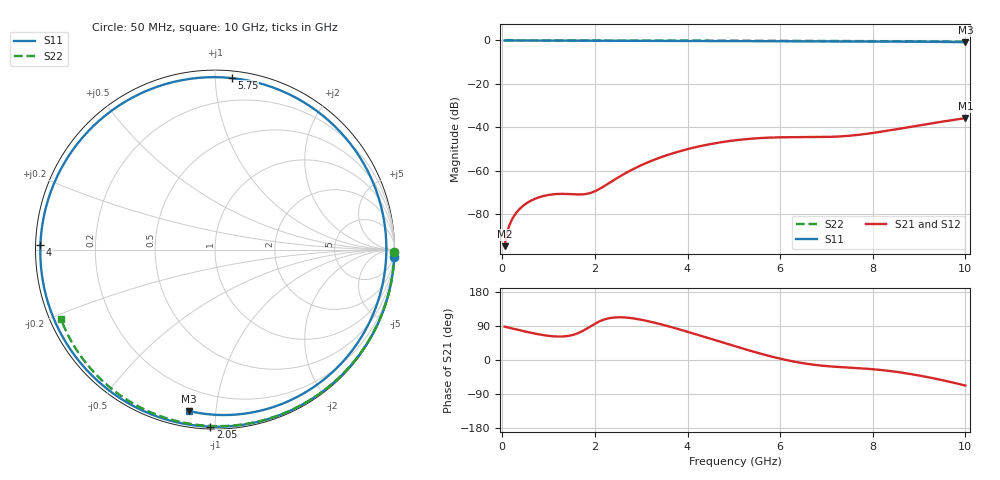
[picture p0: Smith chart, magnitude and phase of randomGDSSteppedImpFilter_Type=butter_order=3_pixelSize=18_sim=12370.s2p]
! freq	dB(S11)	phase(S11)	dB(S12)	phase(S12)
!  dB(S21)	phase(S21)	dB(S22)	phase(S22)
!S-par simulation data
#  GHz  S  DB  R 50
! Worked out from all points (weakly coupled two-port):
!   200 points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, 50 MHz to 10 GHz, reference 50 ohm
!   highest |S21| = -35.73 dB at 10 GHz (marker M1); lowest = -94.6 dB at 50 MHz (marker M2)
!   lowest |S11| = -0.8 dB at 10 GHz (marker M3), VSWR 21.46, Z = 4.02 - j42.5 ohm
!   |S11| at or under -10 dB: nowhere
!   |S22| runs from -0.5 to 0.0 dB; largest |S21 - S12| = 0
!   S11 on the Smith chart (normalised r, x): 50 MHz: 1, -50; 2.05 GHz: 0.01, -0.97; 4 GHz: 0.01, +0.01; 5.75 GHz: 0.04, +1.10; 10 GHz: 0.08, -0.85
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0.05  -0.00 -2.3  -94.62 87.9  -94.62 87.9  -0.00 -0.9
0.25  -0.02 -11.3  -80.82 82.2  -80.82 82.2  -0.01 -4.5
0.55  -0.03 -24.8  -74.53 73.6  -74.53 73.6  -0.01 -9.9
0.9  -0.05 -40.5  -71.48 65.4  -71.48 65.4  -0.02 -16.2
1.35  -0.08 -60.6  -70.58 62.5  -70.58 62.5  -0.03 -24.1
1.75  -0.10 -78.3  -70.75 77.6  -70.75 77.6  -0.04 -31.1
2.05  -0.12 -91.5  -68.84 99.0  -68.84 99.0  -0.05 -36.3
2.7  -0.15 -120.5  -60.58 111.7  -60.58 111.7  -0.06 -47.4
3.4  -0.20 -152.6  -53.91 95.0  -53.91 95.0  -0.08 -59.0
4  -0.24 178.4  -49.99 74.5  -49.99 74.5  -0.10 -68.7
4.5  -0.28 153.0  -47.64 56.0  -47.64 56.0  -0.11 -76.6
5.05  -0.31 123.5  -45.87 35.4  -45.87 35.4  -0.13 -85.1
5.4  -0.33 104.1  -45.14 22.8  -45.14 22.8  -0.15 -90.4
5.75  -0.35 84.4  -44.71 11.1  -44.71 11.1  -0.16 -95.6
6.2  -0.37 59.4  -44.49 -1.8  -44.49 -1.8  -0.18 -102.2
6.7  -0.38 32.5  -44.48 -12.1  -44.48 -12.1  -0.21 -109.4
7.05  -0.39 14.8  -44.37 -16.6  -44.37 -16.6  -0.24 -114.4
7.45  -0.41 -4.3  -43.90 -19.8  -43.90 -19.8  -0.26 -120.0
7.85  -0.43 -21.9  -42.99 -22.8  -42.99 -22.8  -0.30 -125.6
8.35  -0.47 -42.2  -41.39 -28.7  -41.39 -28.7  -0.34 -132.6
9.15  -0.59 -71.1  -38.55 -44.4  -38.55 -44.4  -0.42 -143.7
10  -0.81 -99.1  -35.73 -67.4  -35.73 -67.4  -0.52 -155.6
